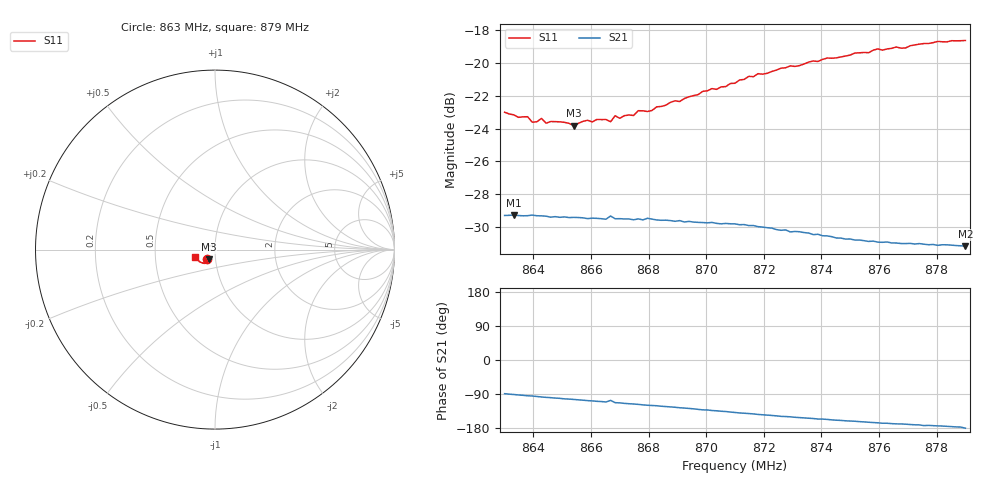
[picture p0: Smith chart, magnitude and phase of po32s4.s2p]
# HZ S RI R 50
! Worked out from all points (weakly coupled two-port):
!   101 points, 863 MHz to 879 MHz, reference 50 ohm
!   highest |S21| = -29.27 dB at 863.32 MHz (marker M1); lowest = -31.2 dB at 879 MHz (marker M2)
!   lowest |S11| = -23.8 dB at 865.4 MHz (marker M3), VSWR 1.14, Z = 46.4 - j5.03 ohm
!   |S11| at or under -10 dB: start of sweep to end of sweep
!   S12 and S22 are empty: the file has one direction only
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8.63e8  -0.0456 -0.0542  0.000672 -0.0343  0 0  0 0
8.6332e8  -0.0436 -0.0541  -0.000647 -0.0344  0 0  0 0
8.638e8  -0.0417 -0.0544  -0.00262 -0.0341  0 0  0 0
8.6396e8  -0.0404 -0.0522  -0.00299 -0.0343  0 0  0 0
8.6428e8  -0.0397 -0.0549  -0.00451 -0.0339  0 0  0 0
8.6444e8  -0.0386 -0.053  -0.00509 -0.0337  0 0  0 0
8.6492e8  -0.0382 -0.054  -0.00658 -0.0332  0 0  0 0
8.654e8  -0.035 -0.0541  -0.00822 -0.0328  0 0  0 0
8.6572e8  -0.0354 -0.0562  -0.00933 -0.0324  0 0  0 0
8.6652e8  -0.0339 -0.058  -0.0119 -0.0312  0 0  0 0
8.6668e8  -0.0285 -0.0598  -0.00975 -0.0327  0 0  0 0
8.6684e8  -0.0346 -0.0598  -0.0129 -0.0309  0 0  0 0
8.67e8  -0.0337 -0.0589  -0.0132 -0.0308  0 0  0 0
8.6748e8  -0.0335 -0.0605  -0.0147 -0.0299  0 0  0 0
8.6764e8  -0.0351 -0.0623  -0.0153 -0.0298  0 0  0 0
8.6796e8  -0.0339 -0.0626  -0.0165 -0.0293  0 0  0 0
8.6844e8  -0.035 -0.0649  -0.0176 -0.0281  0 0  0 0
8.71e8  -0.0458 -0.0736  -0.0242 -0.0214  0 0  0 0
8.718e8  -0.0524 -0.0765  -0.0255 -0.0188  0 0  0 0
8.7372e8  -0.0669 -0.0762  -0.027 -0.0129  0 0  0 0
8.7644e8  -0.0919 -0.0619  -0.0277 -0.00593  0 0  0 0
8.79e8  -0.1104 -0.039  -0.0276 -4e-06  0 0  0 0
